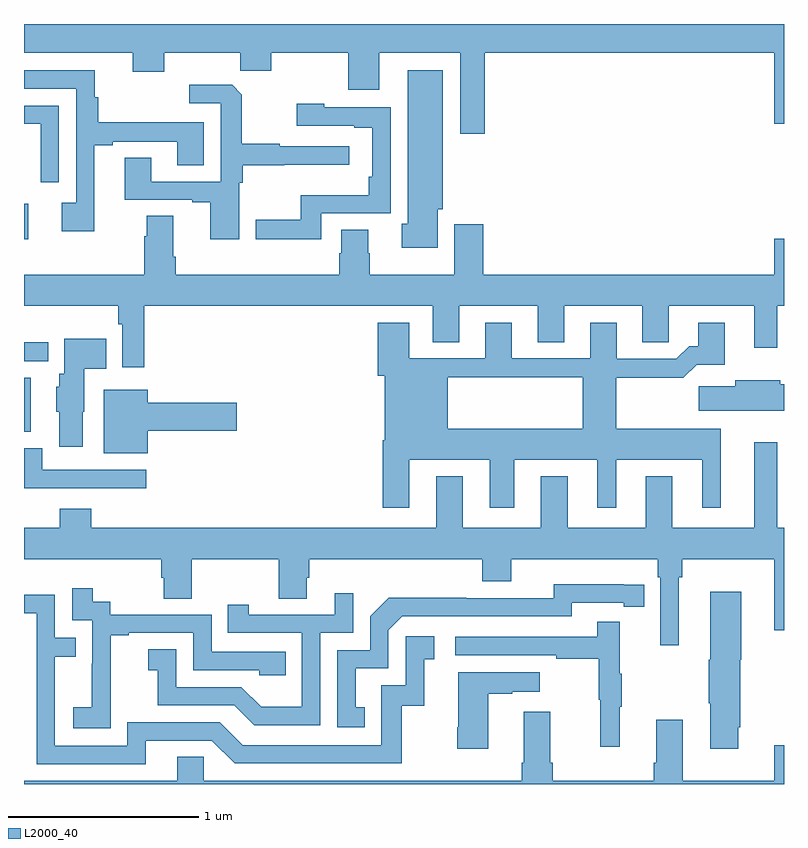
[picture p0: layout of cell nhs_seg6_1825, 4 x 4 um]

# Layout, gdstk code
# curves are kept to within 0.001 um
import gdstk
lib = gdstk.Library(unit=1e-6, precision=1e-09)
def R(c, l, rs):  # rectangles x0, y0, x1, y1
    for r in rs: c.add(gdstk.rectangle(r[:2], r[2:], *l))
def P(c, l, *ps):  # polygons
    for p in ps: c.add(gdstk.Polygon(p, *l))
L2000_40 = (2000, 40)

nhs_seg6_1825 = lib.new_cell('nhs_seg6_1825')
R(nhs_seg6_1825, L2000_40, [(221,933.353,221.035,933.637), (221,933.726,221.128,933.824), (221,934.367,221.023,934.554)])
P(nhs_seg6_1825, L2000_40, [(223.424,935.348),(224.948,935.348),(224.948,934.974),(225,934.974),(225,935.5),(221,935.5),(221,935.348),(221.573,935.348),(221.573,935.249),(221.737,935.249),(221.737,935.348),(222.137,935.348),(222.137,935.255),(222.301,935.255),(222.301,935.348),(222.707,935.348),(222.707,935.154),(222.871,935.154),(222.871,935.348),(223.295,935.348),(223.295,934.923),(223.424,934.923)],
  [(223.177,934.524),(223.204,934.524),(223.204,935.257),(223.019,935.257),(223.019,934.448),(222.989,934.448),(222.989,934.322),(223.177,934.322)],
  [(221.371,934.861),(221.467,934.861),(221.467,934.881),(221.807,934.881),(221.807,934.756),(221.947,934.756),(221.947,934.982),(221.39,934.982),(221.39,935.114),(221.372,935.114),(221.372,935.256),(221.001,935.256),(221.001,935.16),(221.274,935.16),(221.274,934.558),(221.199,934.558),(221.199,934.41),(221.371,934.41)],
  [(222.132,934.664),(222.152,934.664),(222.152,934.756),(222.371,934.756),(222.371,934.76),(222.712,934.76),(222.712,934.857),(222.347,934.857),(222.347,934.87),(222.147,934.87),(222.147,935.127),(222.095,935.179),(221.871,935.179),(221.871,935.082),(222.036,935.082),(222.036,934.671),(221.671,934.671),(221.671,934.796),(221.531,934.796),(221.531,934.575),(221.885,934.575),(221.885,934.563),(221.981,934.563),(221.981,934.368),(222.132,934.368)],
  [(222.564,934.503),(222.93,934.503),(222.93,935.061),(222.579,935.061),(222.579,935.08),(222.435,935.08),(222.435,934.965),(222.737,934.965),(222.737,934.953),(222.834,934.953),(222.834,934.696),(222.814,934.696),(222.814,934.6),(222.456,934.6),(222.456,934.469),(222.219,934.469),(222.219,934.367),(222.564,934.367)],
  [(221.184,935.07),(221,935.07),(221,934.974),(221.088,934.974),(221.088,934.668),(221.184,934.668)],
  [(221.633,934.016),(223.151,934.016),(223.151,933.826),(223.291,933.826),(223.291,934.016),(223.703,934.016),(223.703,933.826),(223.843,933.826),(223.843,934.016),(224.255,934.016),(224.255,933.826),(224.394,933.826),(224.394,934.016),(224.843,934.016),(224.843,933.795),(224.965,933.795),(224.965,934.016),(225,934.016),(225,934.369),(224.948,934.369),(224.948,934.18),(223.418,934.18),(223.418,934.447),(223.265,934.447),(223.265,934.18),(222.819,934.18),(222.819,934.293),(222.811,934.293),(222.811,934.418),(222.671,934.418),(222.671,934.293),(222.659,934.293),(222.659,934.18),(221.798,934.18),(221.798,934.276),(221.785,934.276),(221.785,934.49),(221.645,934.49),(221.645,934.382),(221.633,934.382),(221.633,934.18),(221,934.18),(221,934.016),(221.497,934.016),(221.497,933.92),(221.517,933.92),(221.517,933.693),(221.633,933.693)],
  [(222.887,933.31),(222.887,932.955),(223.027,932.955),(223.027,933.206),(223.451,933.206),(223.451,932.955),(223.579,932.955),(223.579,933.206),(224.018,933.206),(224.018,932.955),(224.116,932.955),(224.116,933.206),(224.57,933.206),(224.57,932.955),(224.668,932.955),(224.668,933.37),(224.118,933.37),(224.118,933.638),(224.471,933.638),(224.54,933.707),(224.689,933.707),(224.689,933.928),(224.549,933.928),(224.549,933.805),(224.5,933.805),(224.433,933.738),(224.119,933.738),(224.119,933.928),(223.979,933.928),(223.979,933.741),(223.567,933.741),(223.567,933.928),(223.427,933.928),(223.427,933.741),(223.027,933.741),(223.027,933.928),(222.863,933.928),(222.863,933.648),(222.899,933.648),(222.899,933.37),(223.231,933.37),(223.231,933.64),(223.94,933.64),(223.94,933.37),(222.899,933.37),(222.899,933.31)],
  [(221.308,933.459),(221.317,933.459),(221.317,933.686),(221.432,933.686),(221.432,933.844),(221.213,933.844),(221.213,933.66),(221.186,933.66),(221.186,933.591),(221.171,933.591),(221.171,933.459),(221.186,933.459),(221.186,933.276),(221.308,933.276)],
  [(225,933.603),(224.98,933.603),(224.98,933.625),(224.744,933.625),(224.744,933.593),(224.55,933.593),(224.55,933.464),(225,933.464)],
  [(221.65,933.359),(222.121,933.359),(222.121,933.506),(221.65,933.506),(221.65,933.574),(221.42,933.574),(221.42,933.242),(221.65,933.242)],
  [(224.446,932.588),(224.465,932.588),(224.465,932.684),(224.948,932.684),(224.948,932.31),(225,932.31),(225,932.848),(224.965,932.848),(224.965,933.298),(224.843,933.298),(224.843,932.848),(224.413,932.848),(224.413,933.121),(224.273,933.121),(224.273,932.848),(223.861,932.848),(223.861,933.121),(223.721,933.121),(223.721,932.848),(223.309,932.848),(223.309,933.121),(223.169,933.121),(223.169,932.848),(221.354,932.848),(221.354,932.95),(221.189,932.95),(221.189,932.848),(221,932.848),(221,932.684),(221.723,932.684),(221.723,932.586),(221.735,932.586),(221.735,932.476),(221.883,932.476),(221.883,932.684),(222.34,932.684),(222.34,932.476),(222.487,932.476),(222.487,932.586),(222.5,932.586),(222.5,932.684),(223.412,932.684),(223.412,932.567),(223.564,932.567),(223.564,932.684),(224.336,932.684),(224.336,932.588),(224.349,932.588),(224.349,932.229),(224.446,932.229)],
  [(221.644,933.153),(221.097,933.153),(221.097,933.268),(221,933.268),(221,933.057),(221.644,933.057)],
  [(222.794,931.905),(222.745,931.905),(222.745,932.109),(222.918,932.109),(222.918,932.31),(222.99,932.382),(223.884,932.382),(223.884,932.454),(224.156,932.454),(224.156,932.434),(224.264,932.434),(224.264,932.55),(223.788,932.551),(223.788,932.478),(223.328,932.478),(223.328,932.48),(222.92,932.48),(222.822,932.382),(222.822,932.205),(222.648,932.205),(222.648,931.8),(222.794,931.8)],
  [(221.457,931.999),(221.456,931.999),(221.456,932.283),(221.551,932.283),(221.551,932.295),(221.892,932.295),(221.892,932.1),(222.237,932.1),(222.237,932.073),(222.377,932.073),(222.377,932.196),(221.988,932.196),(221.988,932.391),(221.454,932.391),(221.454,932.46),(221.362,932.46),(221.362,932.53),(221.253,932.53),(221.253,932.361),(221.358,932.361),(221.358,932.132),(221.357,932.132),(221.357,931.903),(221.259,931.903),(221.259,931.793),(221.457,931.793)],
  [(224.758,931.798),(224.771,931.798),(224.771,932.154),(224.776,932.154),(224.776,932.512),(224.612,932.512),(224.612,932.154),(224.605,932.154),(224.605,931.924),(224.612,931.924),(224.612,931.686),(224.758,931.686)],
  [(222.558,932.295),(222.732,932.295),(222.732,932.503),(222.635,932.503),(222.635,932.391),(222.184,932.391),(222.184,932.443),(222.073,932.443),(222.073,932.295),(222.462,932.295),(222.462,931.906),(222.248,931.906),(222.144,932.01),(221.802,932.01),(221.802,932.209),(221.655,932.209),(221.655,932.099),(221.704,932.099),(221.704,931.914),(222.107,931.914),(222.212,931.809),(222.558,931.809)],
  [(221.641,931.728),(221.988,931.728),(222.108,931.608),(222.988,931.608),(222.988,931.911),(223.106,931.911),(223.106,932.157),(223.159,932.157),(223.159,932.278),(223.008,932.278),(223.008,932.019),(222.879,932.019),(222.879,931.704),(222.15,931.704),(222.03,931.824),(221.544,931.824),(221.544,931.701),(221.163,931.701),(221.163,932.17),(221.273,932.17),(221.273,932.271),(221.163,932.271),(221.163,932.496),(221,932.496),(221,932.4),(221.067,932.4),(221.067,931.605),(221.641,931.605)],
  [(224.135,931.907),(224.146,931.907),(224.146,932.081),(224.135,932.081),(224.135,932.353),(224.017,932.353),(224.017,932.274),(223.269,932.274),(223.269,932.178),(223.801,932.178),(223.801,932.158),(224.025,932.158),(224.025,931.944),(224.032,931.944),(224.032,931.695),(224.135,931.695)],
  [(223.444,931.975),(223.571,931.975),(223.571,931.985),(223.714,931.985),(223.714,932.089),(223.286,932.089),(223.286,931.798),(223.279,931.798),(223.279,931.686),(223.444,931.686)],
  [(221.807,931.516),(221,931.516),(221,931.5),(225,931.5),(225,931.705),(224.948,931.705),(224.948,931.516),(224.467,931.516),(224.467,931.837),(224.327,931.837),(224.327,931.612),(224.315,931.612),(224.315,931.516),(223.784,931.516),(223.784,931.612),(223.771,931.612),(223.771,931.879),(223.631,931.879),(223.631,931.612),(223.619,931.612),(223.619,931.516),(221.946,931.516),(221.946,931.643),(221.807,931.643)])

lib.write_gds('nhs_seg6_1825.gds')
